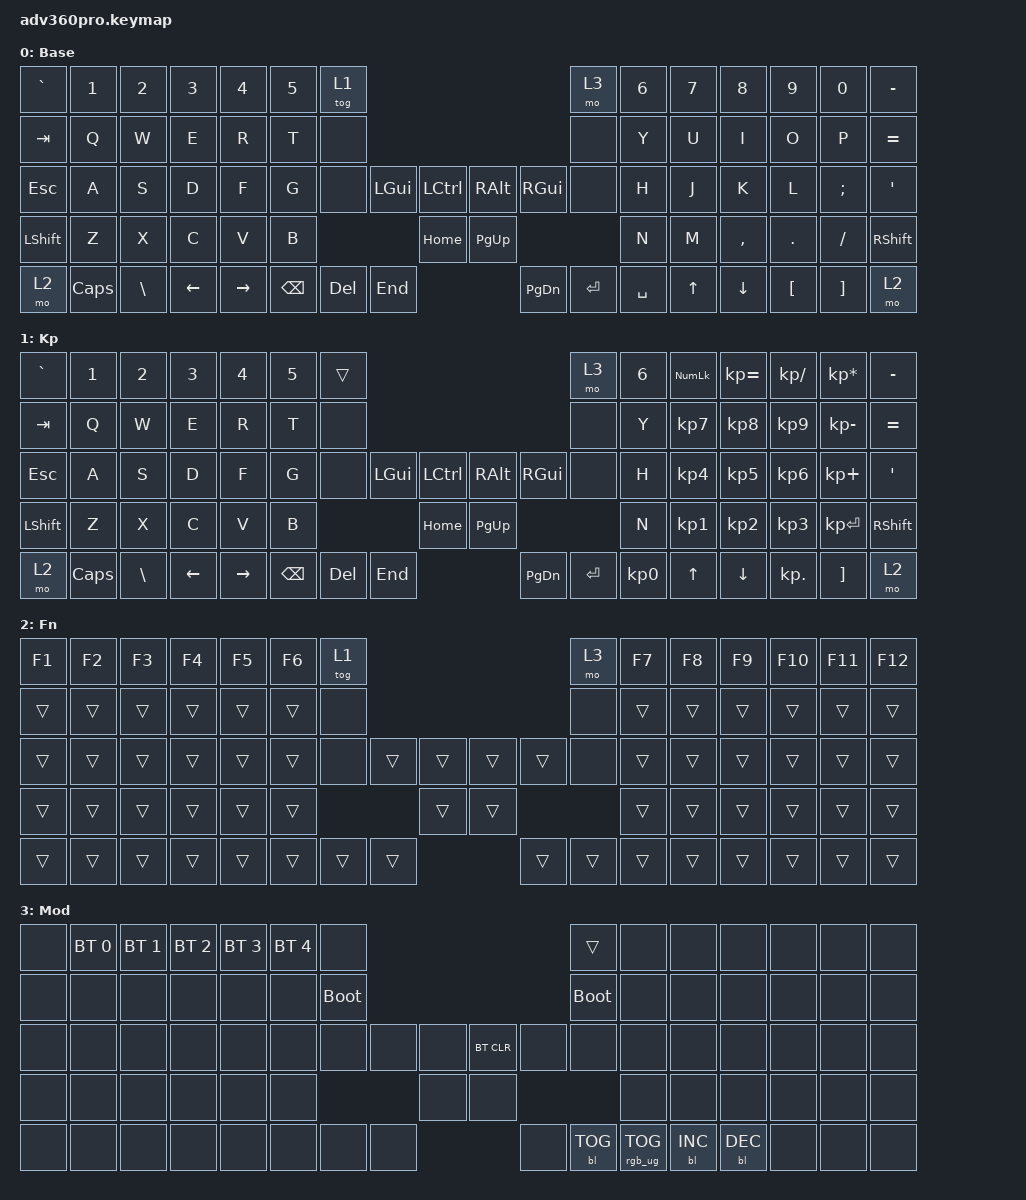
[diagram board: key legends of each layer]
#include <behaviors.dtsi>
#include <dt-bindings/zmk/keys.h>
#include <dt-bindings/zmk/bt.h>
#include <dt-bindings/zmk/rgb.h>
#include <dt-bindings/zmk/backlight.h>
#include <dt-bindings/zmk/pointing.h>

/ {
    behaviors {
      #include "macros.dtsi"

      hm: homerow_mods {
          compatible = "zmk,behavior-hold-tap";
          #binding-cells = <2>;
          tapping-term-ms = <200>;
          quick-tap-ms = <175>;
          flavor = "tap-preferred";
          bindings = <&kp>, <&kp>;
      };
    };

  keymap {
    compatible = "zmk,keymap";

    default_layer {
      display-name = "Base";
      bindings = <
        &kp GRAVE &kp N1    &kp N2   &kp N3   &kp N4     &kp N5 &tog 1                                                           &mo 3 &kp N6 &kp N7 &kp N8    &kp N9   &kp N0   &kp MINUS
        &kp TAB   &kp Q     &kp W    &kp E    &kp R      &kp T  &none                                                            &none &kp Y  &kp U  &kp I     &kp O    &kp P    &kp EQUAL
        &kp ESC   &kp A     &kp S    &kp D    &kp F      &kp G  &none           &kp LGUI  &kp LCTRL &kp RALT  &kp RGUI           &none &kp H  &kp J  &kp K     &kp L    &kp SEMI &kp SQT
        &kp LSHFT &kp Z     &kp X    &kp C    &kp V      &kp B                            &kp HOME  &kp PG_UP                          &kp N  &kp M  &kp COMMA &kp DOT  &kp FSLH &kp RSHFT
        &mo 2     &kp CAPS  &kp BSLH &kp LEFT &kp RIGHT                &kp BSPC &kp DEL   &kp END   &kp PG_DN &kp ENTER &kp SPACE             &kp UP &kp DOWN  &kp LBKT &kp RBKT &mo 2
      >;
    };
    keypad {
      display-name = "Kp";
      bindings = <
        &kp GRAVE &kp N1    &kp N2   &kp N3   &kp N4     &kp N5 &trans                                                           &mo 3 &kp N6 &kp KP_NUM &kp KP_EQUAL &kp KP_DIVIDE &kp KP_MULTIPLY &kp MINUS
        &kp TAB   &kp Q     &kp W    &kp E    &kp R      &kp T  &none                                                            &none &kp Y  &kp KP_N7  &kp KP_N8    &kp KP_N9     &kp KP_MINUS    &kp EQUAL
        &kp ESC   &kp A     &kp S    &kp D    &kp F      &kp G  &none           &kp LGUI  &kp LCTRL &kp RALT  &kp RGUI           &none &kp H  &kp KP_N4  &kp KP_N5    &kp KP_N6     &kp KP_PLUS     &kp SQT
        &kp LSHFT &kp Z     &kp X    &kp C    &kp V      &kp B                            &kp HOME  &kp PG_UP                           &kp N  &kp KP_N1  &kp KP_N2    &kp KP_N3     &kp KP_ENTER    &kp RSHFT
        &mo 2     &kp CAPS  &kp BSLH &kp LEFT &kp RIGHT                &kp BSPC &kp DEL   &kp END   &kp PG_DN &kp ENTER &kp KP_N0              &kp UP     &kp DOWN     &kp KP_DOT    &kp RBKT        &mo 2
      >;
    };
    fn {
      display-name = "Fn";
      bindings = <
        &kp F1 &kp F2 &kp F3 &kp F4 &kp F5 &kp F6 &tog 1                                           &mo 3 &kp F7 &kp F8 &kp F9 &kp F10 &kp F11 &kp F12
        &trans &trans &trans &trans &trans &trans  &none                                           &none &trans &trans &trans &trans  &trans  &trans
        &trans &trans &trans &trans &trans &trans  &none        &trans &trans &trans &trans        &none &trans &trans &trans &trans  &trans  &trans
        &trans &trans &trans &trans &trans &trans                      &trans &trans                     &trans &trans &trans &trans  &trans  &trans
        &trans &trans &trans &trans &trans               &trans &trans &trans &trans &trans &trans              &trans &trans &trans  &trans  &trans
      >;
    };
    mod {
      display-name = "Mod";
      bindings = <
        &none &bt BT_SEL 0 &bt BT_SEL 1 &bt BT_SEL 2 &bt BT_SEL 3 &bt BT_SEL 4 &none                                                                     &trans                 &none        &none        &none        &none &none &none
        &none &none        &none        &none        &none        &none        &bootloader                                                               &bootloader            &none        &none        &none        &none &none &none
        &none &none        &none        &none        &none        &none        &none                   &none &none &bt BT_CLR &none                      &none         &none        &none        &none        &none &none &none
        &none &none        &none        &none        &none        &none                                      &none &none                                                        &none        &none        &none        &none &none &none
        &none &none        &none        &none        &none                                       &none &none &none &none      &bl BL_TOG &rgb_ug RGB_TOG                                     &bl BL_INC   &bl BL_DEC   &none &none &none
      >;
    };



  };
};
